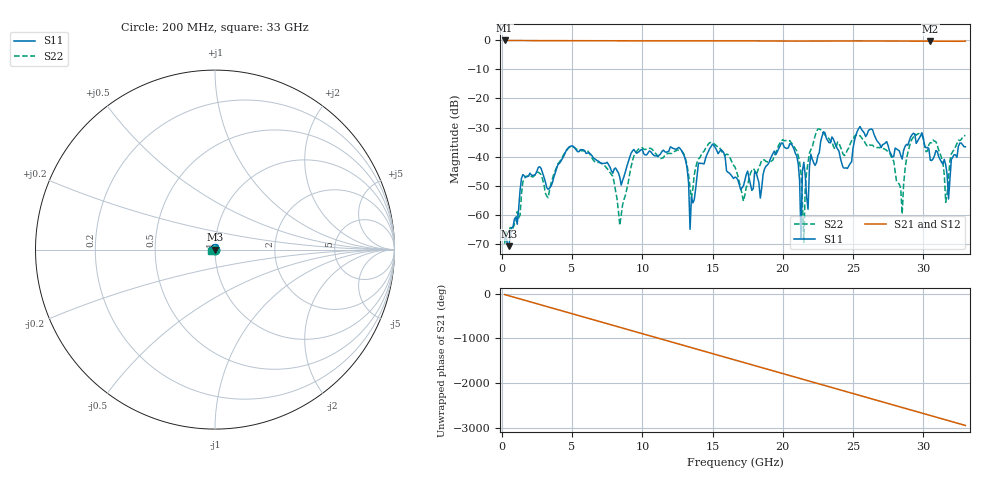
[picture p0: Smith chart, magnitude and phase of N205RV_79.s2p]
# GHZ S RI R 50
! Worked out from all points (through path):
!   329 points, 200 MHz to 33 GHz, reference 50 ohm
!   highest |S21| = -0.02 dB at 200 MHz (marker M1); lowest = -0.3 dB at 30.5 GHz (marker M2)
!   group delay of S21, straight-line fit = 248 ps
!   lowest |S11| = -70.8 dB at 500 MHz (marker M3), VSWR 1.00, Z = 50 + j0.00681 ohm
!   |S11| at or under -10 dB: start of sweep to end of sweep
!   |S22| runs from -70.0 to -30.5 dB; largest |S21 - S12| = 0.0019
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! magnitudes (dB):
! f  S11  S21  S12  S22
! 200 MHz  -68.4  0.0  0.0  -70.0
! 500 MHz  -70.8  0.0  0.0  -66.3
! 1.5 GHz  -46.2  -0.1  -0.1  -48.7
! 5.7 GHz  -37.6  -0.1  -0.1  -38.0
! 8.4 GHz  -47.1  -0.1  -0.1  -63.7
! 11.2 GHz  -39.6  -0.2  -0.2  -40.5
! 13 GHz  -40.0  -0.2  -0.2  -39.5
! 13.4 GHz  -65.0  -0.2  -0.2  -50.7
! 15 GHz  -35.7  -0.1  -0.1  -35.2
! 16.6 GHz  -47.1  -0.1  -0.2  -43.6
! 20.5 GHz  -35.5  -0.2  -0.2  -34.5
! 21.1 GHz  -42.4  -0.2  -0.2  -39.6
! 21.3 GHz  -68.4  -0.2  -0.2  -45.9
! 21.5 GHz  -42.0  -0.2  -0.2  -69.5
! 21.8 GHz  -58.1  -0.2  -0.2  -41.8
! 22.1 GHz  -40.9  -0.2  -0.2  -36.8
! 27.6 GHz  -38.1  -0.2  -0.2  -38.6
! 28.5 GHz  -40.9  -0.3  -0.3  -59.8
! 29.1 GHz  -33.2  -0.3  -0.3  -34.9
! 30.5 GHz  -41.2  -0.3  -0.3  -35.2
! 31.6 GHz  -42.8  -0.3  -0.3  -55.7
! 33 GHz  -36.6  -0.3  -0.3  -32.7
